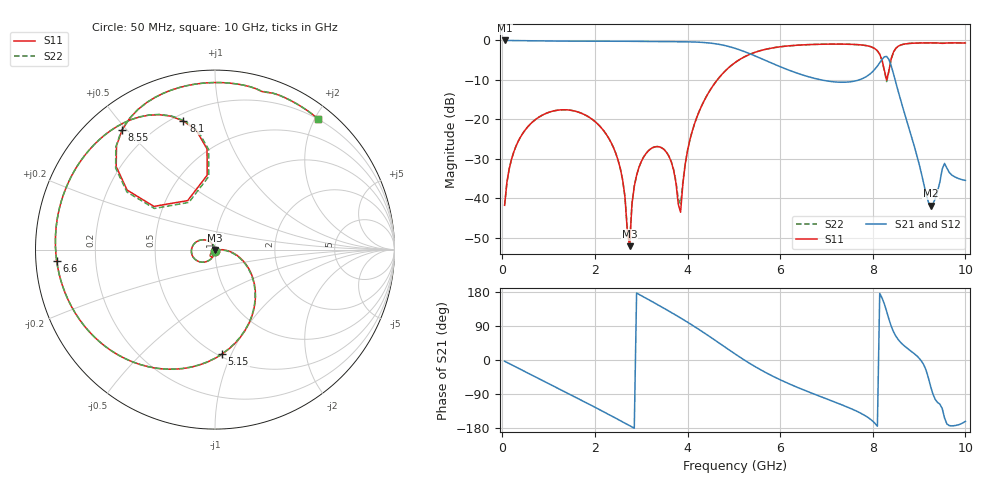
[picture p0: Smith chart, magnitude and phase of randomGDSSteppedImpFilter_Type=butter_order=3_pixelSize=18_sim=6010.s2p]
! freq	dB(S11)	phase(S11)	dB(S12)	phase(S12)
!  dB(S21)	phase(S21)	dB(S22)	phase(S22)
!S-par simulation data
#  GHz  S  DB  R 50
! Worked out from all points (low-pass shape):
!   200 points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, 50 MHz to 10 GHz, reference 50 ohm
!   highest |S21| = -0.01 dB at 50 MHz (marker M1); lowest = -41.9 dB at 9.25 GHz (marker M2)
!   |S21| within 3 dB of the highest: start of sweep to 5.267 GHz
!   lowest |S11| = -52.2 dB at 2.75 GHz (marker M3), VSWR 1.00, Z = 50 - j0.245 ohm
!   |S11| at or under -10 dB: start of sweep to 4.644 GHz; 8.29803 GHz to 8.301965 GHz (3.935 MHz wide, 0.0474 % of centre)
!   |S22| runs from -51.4 to -0.6 dB; largest |S21 - S12| = 0
!   S11 on the Smith chart (normalised r, x): 50 MHz: 1.00, -0.02; 5.15 GHz: 0.52, -0.92; 6.6 GHz: 0.06, -0.03; 8.1 GHz: 0.24, +0.76; 8.55 GHz: 0.10, +0.49; 10 GHz: 0.20, +2.05
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0.05  -41.82 -91.0  -0.01 -3.2  -0.01 -3.2  -41.82 -91.0
0.2  -30.09 -101.9  -0.03 -12.6  -0.03 -12.6  -30.09 -101.9
0.55  -21.91 -124.6  -0.08 -34.4  -0.08 -34.4  -21.91 -124.6
1.75  -18.68 160.8  -0.19 -108.8  -0.19 -108.8  -18.68 160.6
2.45  -28.61 116.7  -0.20 -153.6  -0.20 -153.6  -28.61 115.2
2.75  -52.19 -95.3  -0.22 -173.3  -0.22 -173.3  -51.36 -50.4
2.8  -41.50 -88.0  -0.22 -176.6  -0.22 -176.6  -41.45 -79.6
2.95  -32.24 -96.5  -0.24 173.4  -0.24 173.4  -32.23 -93.5
3.4  -27.02 -124.7  -0.29 142.8  -0.29 142.8  -27.01 -122.6
3.65  -30.85 -137.2  -0.31 125.3  -0.31 125.3  -30.76 -133.5
3.85  -43.58 -41.8  -0.33 110.9  -0.33 110.9  -41.49 -47.6
4.2  -19.52 -11.0  -0.42 84.3  -0.42 84.3  -19.50 -12.2
5.05  -5.42 -78.2  -2.09 14.0  -2.09 14.0  -5.42 -78.5
5.15  -4.67 -86.2  -2.49 5.9  -2.49 5.9  -4.67 -86.5
6.6  -1.07 -176.0  -9.17 -83.5  -9.17 -83.5  -1.07 -176.1
6.7  -1.02 179.2  -9.50 -88.4  -9.50 -88.4  -1.02 179.1
8.1  -2.64 103.8  -6.50 -174.8  -6.50 -174.8  -2.65 103.2
8.35  -7.60 144.7  -4.87 107.2  -4.87 107.2  -7.79 145.8
8.55  -1.47 127.8  -12.95 53.8  -12.95 53.8  -1.49 128.3
9.25  -0.62 84.9  -41.90 -70.0  -41.90 -70.0  -0.62 85.0
9.55  -0.71 72.1  -31.20 -153.0  -31.20 -153.0  -0.70 72.1
10  -0.65 51.8  -35.51 -161.9  -35.51 -161.9  -0.65 51.8
